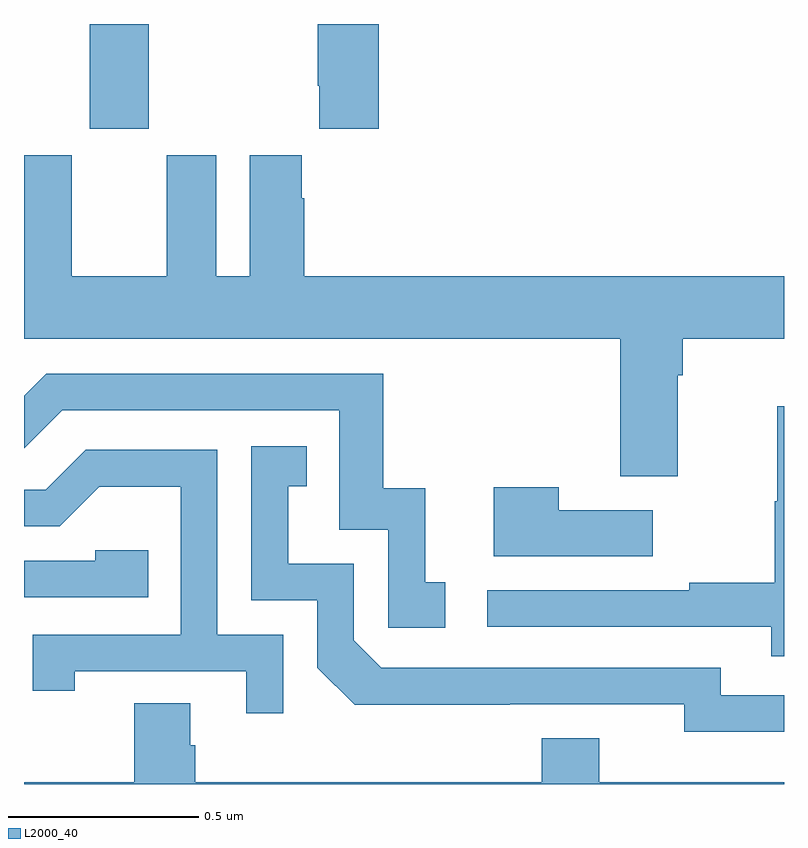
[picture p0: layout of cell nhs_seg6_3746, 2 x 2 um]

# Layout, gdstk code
import gdstk
lib = gdstk.Library(unit=1e-6, precision=1e-09)
def R(c, l, rs):  # rectangles x0, y0, x1, y1
    for r in rs: c.add(gdstk.rectangle(r[:2], r[2:], *l))
def P(c, l, *ps):  # polygons
    for p in ps: c.add(gdstk.Polygon(p, *l))
L2000_40 = (2000, 40)

nhs_seg6_3746 = lib.new_cell('nhs_seg6_3746')
R(nhs_seg6_3746, L2000_40, [(161.173,945.225,161.328,945.5)])
P(nhs_seg6_3746, L2000_40, [(161.933,945.5),(161.773,945.5),(161.773,945.337),(161.777,945.337),(161.777,945.225),(161.933,945.225)],
  [(162.721,944.576),(162.734,944.576),(162.734,944.672),(163,944.672),(163,944.836),(161.738,944.836),(161.738,945.041),(161.731,945.041),(161.731,945.154),(161.594,945.154),(161.594,944.836),(161.506,944.836),(161.506,945.154),(161.375,945.154),(161.375,944.836),(161.125,944.836),(161.125,945.154),(161,945.154),(161,944.672),(162.569,944.672),(162.569,944.31),(162.721,944.31)],
  [(162.109,944.031),(162.056,944.031),(162.056,944.278),(161.945,944.278),(161.945,944.58),(161.058,944.58),(161,944.522),(161,944.384),(161.1,944.484),(161.829,944.484),(161.829,944.169),(161.958,944.169),(161.958,943.911),(162.109,943.911)],
  [(163,944.494),(162.982,944.494),(162.982,944.244),(162.975,944.244),(162.975,944.03),(162.751,944.03),(162.751,944.01),(162.219,944.01),(162.219,943.914),(162.967,943.914),(162.967,943.836),(163,943.836)],
  [(163,943.734),(162.834,943.734),(162.834,943.806),(161.94,943.806),(161.868,943.878),(161.868,944.079),(161.695,944.079),(161.695,944.283),(161.744,944.283),(161.744,944.389),(161.598,944.389),(161.598,943.983),(161.772,943.983),(161.772,943.806),(161.87,943.709),(162.278,943.709),(162.278,943.71),(162.738,943.71),(162.738,943.637),(163,943.637)],
  [(161.682,943.893),(161.508,943.893),(161.508,944.379),(161.162,944.379),(161.057,944.274),(161,944.274),(161,944.178),(161.094,944.178),(161.198,944.282),(161.412,944.282),(161.412,943.893),(161.023,943.893),(161.023,943.746),(161.134,943.746),(161.134,943.797),(161.585,943.797),(161.585,943.686),(161.682,943.686)],
  [(162.655,944.221),(162.407,944.221),(162.407,944.281),(162.236,944.281),(162.236,944.099),(162.655,944.099)],
  [(161.327,944.115),(161.187,944.115),(161.187,944.088),(161,944.088),(161,943.992),(161.327,943.992)],
  [(163,943.504),(162.514,943.504),(162.514,943.621),(162.362,943.621),(162.362,943.504),(161.45,943.504),(161.45,943.602),(161.437,943.602),(161.437,943.712),(161.29,943.712),(161.29,943.504),(161,943.504),(161,943.5),(163,943.5)])

lib.write_gds('nhs_seg6_3746.gds')
